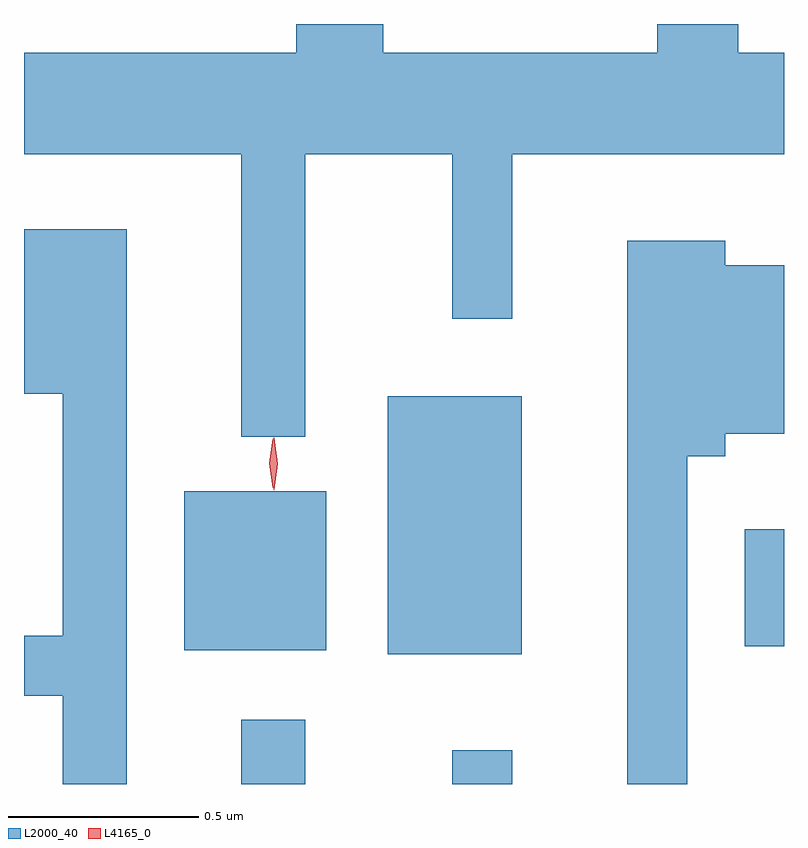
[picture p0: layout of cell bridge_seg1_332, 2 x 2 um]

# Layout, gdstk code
import gdstk
lib = gdstk.Library(unit=1e-6, precision=1e-09)
def R(c, l, rs):  # rectangles x0, y0, x1, y1
    for r in rs: c.add(gdstk.rectangle(r[:2], r[2:], *l))
def P(c, l, *ps):  # polygons
    for p in ps: c.add(gdstk.Polygon(p, *l))
L2000_40 = (2000, 40)
L4165_0 = (4165, 0)

bridge_seg1_332 = lib.new_cell('bridge_seg1_332')
R(bridge_seg1_332, L2000_40, [(900.141,886.819,900.309,886.988), (900.696,886.819,900.854,886.908), (900.526,887.161,900.879,887.839), (899.991,887.171,900.364,887.589), (901.466,887.181,901.569,887.489)])
P(bridge_seg1_332, L2000_40, [(900.286,888.744),(899.569,888.744),(899.569,888.476),(900.141,888.476),(900.141,887.733),(900.309,887.733),(900.309,888.476),(900.696,888.476),(900.696,888.043),(900.854,888.043),(900.854,888.476),(901.569,888.476),(901.569,888.744),(901.449,888.744),(901.449,888.819),(901.236,888.819),(901.236,888.744),(900.514,888.744),(900.514,888.819),(900.286,888.819)],
  [(899.839,888.279),(899.569,888.279),(899.569,887.846),(899.671,887.846),(899.671,887.209),(899.569,887.209),(899.569,887.051),(899.671,887.051),(899.671,886.819),(899.839,886.819)],
  [(901.314,887.681),(901.414,887.681),(901.414,887.741),(901.569,887.741),(901.569,888.184),(901.414,888.184),(901.414,888.249),(901.156,888.249),(901.156,886.819),(901.314,886.819)])
P(bridge_seg1_332, L4165_0, [(900.226,887.594),(900.217,887.662),(900.226,887.73),(900.227,887.73),(900.227,887.73),(900.237,887.662),(900.227,887.594),(900.227,887.594)],
  [(900.224,887.598),(900.224,887.598),(900.214,887.663),(900.224,887.727),(900.224,887.727),(900.224,887.727),(900.234,887.663),(900.224,887.598)])

lib.write_gds('bridge_seg1_332.gds')
